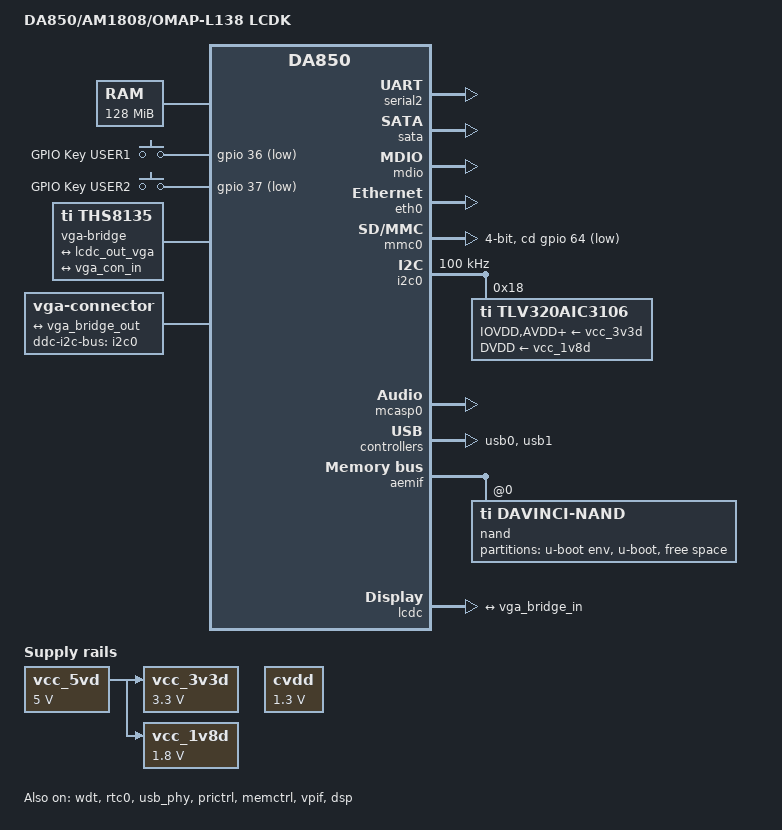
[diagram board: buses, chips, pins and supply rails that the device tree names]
// SPDX-License-Identifier: GPL-2.0-only
/*
 * Copyright (c) 2016 BayLibre, Inc.
 */
/dts-v1/;
#include "da850.dtsi"
#include <dt-bindings/gpio/gpio.h>
#include <dt-bindings/input/input.h>

/ {
	model = "DA850/AM1808/OMAP-L138 LCDK";
	compatible = "ti,da850-lcdk", "ti,da850";

	aliases {
		serial2 = &serial2;
		ethernet0 = &eth0;
	};

	chosen {
		stdout-path = "serial2:115200n8";
	};

	memory@c0000000 {
		/* 128 MB DDR2 SDRAM @ 0xc0000000 */
		reg = <0xc0000000 0x08000000>;
	};

	reserved-memory {
		#address-cells = <1>;
		#size-cells = <1>;
		ranges;

		dsp_memory_region: dsp-memory@c3000000 {
			compatible = "shared-dma-pool";
			reg = <0xc3000000 0x1000000>;
			reusable;
			status = "okay";
		};
	};

	vcc_5vd: fixedregulator-vcc_5vd {
		compatible = "regulator-fixed";
		regulator-name = "vcc_5vd";
		regulator-min-microvolt = <5000000>;
		regulator-max-microvolt = <5000000>;
		regulator-boot-on;
	};

	vcc_3v3d: fixedregulator-vcc_3v3d {
		/* TPS650250 - VDCDC1 */
		compatible = "regulator-fixed";
		regulator-name = "vcc_3v3d";
		regulator-min-microvolt = <3300000>;
		regulator-max-microvolt = <3300000>;
		vin-supply = <&vcc_5vd>;
		regulator-always-on;
		regulator-boot-on;
	};

	vcc_1v8d: fixedregulator-vcc_1v8d {
		/* TPS650250 - VDCDC2 */
		compatible = "regulator-fixed";
		regulator-name = "vcc_1v8d";
		regulator-min-microvolt = <1800000>;
		regulator-max-microvolt = <1800000>;
		vin-supply = <&vcc_5vd>;
		regulator-always-on;
		regulator-boot-on;
	};

	sound {
		compatible = "simple-audio-card";
		simple-audio-card,name = "DA850-OMAPL138 LCDK";
		simple-audio-card,widgets =
			"Line", "Line In",
			"Line", "Line Out",
			"Microphone", "Mic Jack";
		simple-audio-card,routing =
			"LINE1L", "Line In",
			"LINE1R", "Line In",
			"Line Out", "LLOUT",
			"Line Out", "RLOUT",
			"MIC3L", "Mic Jack",
			"MIC3R", "Mic Jack",
			"Mic Jack", "Mic Bias";
		simple-audio-card,format = "dsp_b";
		simple-audio-card,bitclock-master = <&link0_codec>;
		simple-audio-card,frame-master = <&link0_codec>;
		simple-audio-card,bitclock-inversion;

		simple-audio-card,cpu {
			sound-dai = <&mcasp0>;
			system-clock-frequency = <24576000>;
		};

		link0_codec: simple-audio-card,codec {
			sound-dai = <&tlv320aic3106>;
			system-clock-frequency = <24576000>;
		};
	};

	gpio-keys {
		compatible = "gpio-keys";
		autorepeat;

		user1 {
			label = "GPIO Key USER1";
			linux,code = <BTN_0>;
			gpios = <&gpio 36 GPIO_ACTIVE_LOW>;
		};

		user2 {
			label = "GPIO Key USER2";
			linux,code = <BTN_1>;
			gpios = <&gpio 37 GPIO_ACTIVE_LOW>;
		};
	};

	vga-bridge {
		compatible = "ti,ths8135";
		#address-cells = <1>;
		#size-cells = <0>;

		ports {
			#address-cells = <1>;
			#size-cells = <0>;

			port@0 {
				reg = <0>;

				vga_bridge_in: endpoint {
					remote-endpoint = <&lcdc_out_vga>;
				};
			};

			port@1 {
				reg = <1>;

				vga_bridge_out: endpoint {
					remote-endpoint = <&vga_con_in>;
				};
			};
		};
	};

	vga {
		compatible = "vga-connector";

		ddc-i2c-bus = <&i2c0>;

		port {
			vga_con_in: endpoint {
				remote-endpoint = <&vga_bridge_out>;
			};
		};
	};

	cvdd: regulator0 {
		compatible = "regulator-fixed";
		regulator-name = "cvdd";
		regulator-min-microvolt = <1300000>;
		regulator-max-microvolt = <1300000>;
		regulator-always-on;
		regulator-boot-on;
	};
};

&ref_clk {
	clock-frequency = <24000000>;
};

&cpu {
	cpu-supply = <&cvdd>;
};

/*
 * LCDK has a fixed CVDD of 1.3V, so only operating points >= 300MHz are
 * valid. Unfortunately due to a problem with the DA8XX OHCI controller, we
 * can't enable more than one OPP by default, since the controller sometimes
 * becomes unresponsive after a transition. Fix the frequency at 456 MHz.
 */

&opp_100 {
	status = "disabled";
};

&opp_200 {
	status = "disabled";
};

&opp_300 {
	status = "disabled";
};

&opp_456 {
	status = "okay";
};

&pmx_core {
	status = "okay";

	mcasp0_pins: pinmux_mcasp0_pins {
		pinctrl-single,bits = <
			/* AHCLKX AFSX ACLKX */
			0x00 0x00101010 0x00f0f0f0
			/* ARX13 ARX14 */
			0x04 0x00000110 0x00000ff0
		>;
	};

	nand_pins: nand_pins {
		pinctrl-single,bits = <
			/* EMA_WAIT[0], EMA_OE, EMA_WE, EMA_CS[3] */
			0x1c 0x10110010  0xf0ff00f0
			/*
			 * EMA_D[0], EMA_D[1], EMA_D[2],
			 * EMA_D[3], EMA_D[4], EMA_D[5],
			 * EMA_D[6], EMA_D[7]
			 */
			0x24 0x11111111  0xffffffff
			/*
			 * EMA_D[8],  EMA_D[9],  EMA_D[10],
			 * EMA_D[11], EMA_D[12], EMA_D[13],
			 * EMA_D[14], EMA_D[15]
			 */
			0x20 0x11111111  0xffffffff
			/* EMA_A[1], EMA_A[2] */
			0x30 0x01100000  0x0ff00000
		>;
	};
};

&serial2 {
	pinctrl-names = "default";
	pinctrl-0 = <&serial2_rxtx_pins>;
	status = "okay";
};

&wdt {
	status = "okay";
};

&rtc0 {
	status = "okay";
};

&gpio {
	status = "okay";
};

&sata_refclk {
	status = "okay";
	clock-frequency = <100000000>;
};

&sata {
	status = "okay";
};

&mdio {
	pinctrl-names = "default";
	pinctrl-0 = <&mdio_pins>;
	bus_freq = <2200000>;
	status = "okay";
};

&eth0 {
	pinctrl-names = "default";
	pinctrl-0 = <&mii_pins>;
	status = "okay";
};

&mmc0 {
	max-frequency = <50000000>;
	bus-width = <4>;
	pinctrl-names = "default";
	pinctrl-0 = <&mmc0_pins>;
	cd-gpios = <&gpio 64 GPIO_ACTIVE_LOW>;
	status = "okay";
};

&i2c0 {
	pinctrl-names = "default";
	pinctrl-0 = <&i2c0_pins>;
	clock-frequency = <100000>;
	status = "okay";

	tlv320aic3106: tlv320aic3106@18 {
		#sound-dai-cells = <0>;
		compatible = "ti,tlv320aic3106";
		reg = <0x18>;
		adc-settle-ms = <40>;
		ai3x-micbias-vg = <1>;		/* 2.0V */
		status = "okay";

		/* Regulators */
		IOVDD-supply = <&vcc_3v3d>;
		AVDD-supply = <&vcc_3v3d>;
		DRVDD-supply = <&vcc_3v3d>;
		DVDD-supply = <&vcc_1v8d>;
	};
};

&mcasp0 {
	#sound-dai-cells = <0>;
	pinctrl-names = "default";
	pinctrl-0 = <&mcasp0_pins>;
	status = "okay";

	op-mode = <0>;   /* DAVINCI_MCASP_IIS_MODE */
	tdm-slots = <2>;
	serial-dir = <   /* 0: INACTIVE, 1: TX, 2: RX */
		0 0 0 0
		0 0 0 0
		0 0 0 0
		0 1 2 0
	>;
	tx-num-evt = <32>;
	rx-num-evt = <32>;
};

&usb_phy {
	status = "okay";
};

&usb0 {
	status = "okay";
};

&usb1 {
	status = "okay";
};

&aemif {
	pinctrl-names = "default";
	pinctrl-0 = <&nand_pins>;
	status = "okay";
	cs3 {
		#address-cells = <2>;
		#size-cells = <1>;
		clock-ranges;
		ranges;

		ti,cs-chipselect = <3>;

		nand@2000000,0 {
			compatible = "ti,davinci-nand";
			#address-cells = <1>;
			#size-cells = <1>;
			reg = <0 0x02000000 0x02000000
			       1 0x00000000 0x00008000>;

			ti,davinci-chipselect = <1>;
			ti,davinci-mask-ale = <0>;
			ti,davinci-mask-cle = <0>;
			ti,davinci-mask-chipsel = <0>;

			ti,davinci-nand-buswidth = <16>;
			ti,davinci-ecc-mode = "hw";
			ti,davinci-ecc-bits = <4>;
			ti,davinci-nand-use-bbt;

			/*
			 * The OMAP-L132/L138 Bootloader doc SPRAB41E reads:
			 * "To boot from NAND Flash, the AIS should be written
			 * to NAND block 1 (NAND block 0 is not used by default)".
			 * The same doc mentions that for ROM "Silicon Revision 2.1",
			 * "Updated NAND boot mode to offer boot from block 0 or block 1".
			 * However the limitaion is left here by default for compatibility
			 * with older silicon and because it needs new boot pin settings
			 * not possible in stock LCDK.
			 */
			partitions {
				compatible = "fixed-partitions";
				#address-cells = <1>;
				#size-cells = <1>;

				partition@0 {
					label = "u-boot env";
					reg = <0 0x020000>;
				};
				partition@20000 {
					/* The LCDK defaults to booting from this partition */
					label = "u-boot";
					reg = <0x020000 0x080000>;
				};
				partition@a0000 {
					label = "free space";
					reg = <0x0a0000 0>;
				};
			};
		};
	};
};

&prictrl {
	status = "okay";
};

&memctrl {
	status = "okay";
};

&lcdc {
	status = "okay";
	pinctrl-names = "default";
	pinctrl-0 = <&lcd_pins>;

	port {
		lcdc_out_vga: endpoint {
			remote-endpoint = <&vga_bridge_in>;
		};
	};
};

&vpif {
	pinctrl-names = "default";
	pinctrl-0 = <&vpif_capture_pins>;
	status = "okay";
};

&dsp {
	memory-region = <&dsp_memory_region>;
	status = "okay";
};
